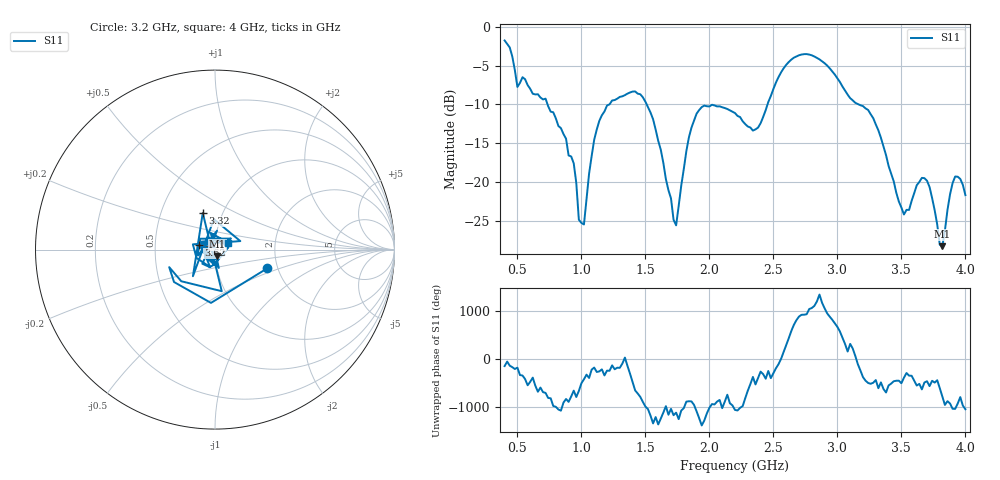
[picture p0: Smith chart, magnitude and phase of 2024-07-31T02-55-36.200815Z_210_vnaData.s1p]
!Created with skrf (http://scikit-rf.org).
# Hz S RI R 50.0
!freq ReS11 ImS11
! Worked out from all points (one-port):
!   181 points, 400 MHz to 4 GHz, reference 50 ohm
!   lowest |S11| = -28.3 dB at 3.82 GHz (marker M1), VSWR 1.08, Z = 51.2 - j3.72 ohm
!   |S11| at or under -10 dB: 735.3 MHz to 1.219 GHz (483.6 MHz wide, 49.5 % of centre); 1.51 GHz to 2.454 GHz (944.4 MHz wide, 47.7 % of centre); 3.165 GHz to end of sweep
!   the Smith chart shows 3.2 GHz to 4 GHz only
!   S11 on the Smith chart (normalised r, x): 3.2 GHz: 1.76, -0.41; 3.32 GHz: 0.81, +0.35; 3.62 GHz: 0.83, +0.04; 4 GHz: 1.15, +0.09
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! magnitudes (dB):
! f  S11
! 400 MHz  -1.8
! 500 MHz  -7.8
! 720 MHz  -9.3
! 860 MHz  -13.8
! 940 MHz  -17.6
! 980 MHz  -24.9
! 1.02 GHz  -25.5
! 1.12 GHz  -13.2
! 1.3 GHz  -9.0
! 1.5 GHz  -9.7
! 1.62 GHz  -15.8
! 1.72 GHz  -24.9
! 1.76 GHz  -23.1
! 1.9 GHz  -11.2
! 2.2 GHz  -11.1
! 2.38 GHz  -13.0
! 2.66 GHz  -4.0
! 2.86 GHz  -4.2
! 3.1 GHz  -9.2
! 3.2 GHz  -10.2
! 3.32 GHz  -13.3
! 3.48 GHz  -22.5
! 3.56 GHz  -23.6
! 3.62 GHz  -20.4
! 3.7 GHz  -19.8
! 3.82 GHz  -28.3
! 3.92 GHz  -19.3
! 4 GHz  -21.7
